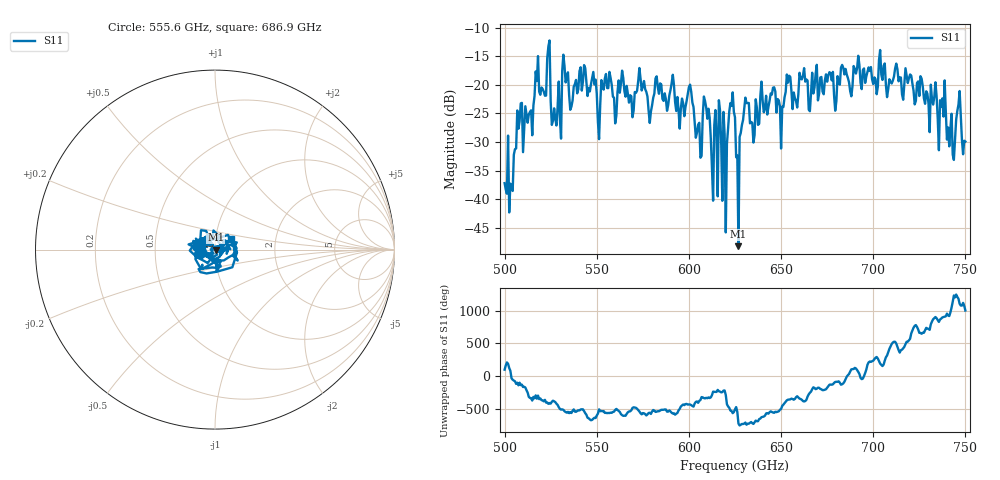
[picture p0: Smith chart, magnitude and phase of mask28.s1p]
!Created with skrf (http://scikit-rf.org).
# GHz S MA R 50.0
!freq magS11 angS11
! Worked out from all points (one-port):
!   401 points, 500 GHz to 750 GHz, reference 50 ohm
!   lowest |S11| = -48.2 dB at 626.9 GHz (marker M1), VSWR 1.01, Z = 50.4 - j0.0213 ohm
!   |S11| at or under -10 dB: start of sweep to end of sweep
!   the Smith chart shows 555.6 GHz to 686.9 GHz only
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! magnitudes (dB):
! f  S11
! 500 GHz  -37.2
! 503.8 GHz  -37.8
! 508.1 GHz  -26.4
! 513.8 GHz  -24.7
! 517.5 GHz  -19.3
! 523.8 GHz  -13.3
! 526.9 GHz  -24.1
! 531.2 GHz  -17.6
! 562.5 GHz  -21.4
! 593.8 GHz  -22.1
! 600.6 GHz  -19.9
! 605.6 GHz  -26.6
! 609.4 GHz  -24.0
! 611.9 GHz  -29.4
! 617.5 GHz  -30.0
! 619.4 GHz  -28.7
! 622.5 GHz  -23.2
! 625 GHz  -25.7
! 626.9 GHz  -48.2
! 631.2 GHz  -23.2
! 634.4 GHz  -26.6
! 656.2 GHz  -24.2
! 687.5 GHz  -21.1
! 718.8 GHz  -19.7
! 737.5 GHz  -22.4
! 742.5 GHz  -25.0
! 746.2 GHz  -23.4
! 750 GHz  -29.9
